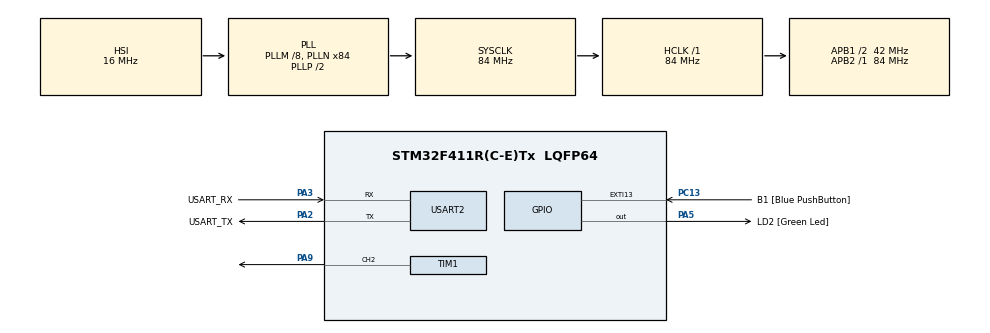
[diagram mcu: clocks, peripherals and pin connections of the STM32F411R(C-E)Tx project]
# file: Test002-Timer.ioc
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Mcu.Family=STM32F4
Mcu.Name=STM32F411R(C-E)Tx
Mcu.Package=LQFP64
NVIC.EXTI15_10_IRQn=true\:0\:3\:true\:false\:true\:true\:true\:true
NVIC.PriorityGroup=NVIC_PRIORITYGROUP_0
NVIC.TIM2_IRQn=true\:0\:0\:false\:false\:true\:true\:true\:true
NVIC.TIM3_IRQn=true\:0\:2\:false\:false\:true\:true\:true\:true
NVIC.TIM4_IRQn=true\:0\:0\:false\:false\:true\:true\:true\:true
PA13.GPIO_Label=TMS
PA13.Mode=Serial_Wire
PA13.Signal=SYS_JTMS-SWDIO
PA14.GPIO_Label=TCK
PA14.Mode=Serial_Wire
PA14.Signal=SYS_JTCK-SWCLK
PA2.GPIO_Label=USART_TX
PA2.Mode=Asynchronous
PA2.Signal=USART2_TX
PA3.GPIO_Label=USART_RX
PA3.Mode=Asynchronous
PA3.Signal=USART2_RX
PA5.GPIO_Label=LD2 [Green Led]
PA5.Signal=GPIO_Output
PA9.Signal=S_TIM1_CH2
PB3.GPIO_Label=SWO
PB3.Signal=SYS_JTDO-SWO
PC13-ANTI_TAMP.GPIO_Label=B1 [Blue PushButton]
PC13-ANTI_TAMP.GPIO_ModeDefaultEXTI=GPIO_MODE_IT_FALLING
PC13-ANTI_TAMP.Signal=GPXTI13
PC14-OSC32_IN.Mode=LSE-External-Oscillator
PC14-OSC32_IN.Signal=RCC_OSC32_IN
PC15-OSC32_OUT.Mode=LSE-External-Oscillator
PC15-OSC32_OUT.Signal=RCC_OSC32_OUT
PH0\ -\ OSC_IN.Mode=HSE-External-Clock-Source
PH0\ -\ OSC_IN.Signal=RCC_OSC_IN
PH1\ -\ OSC_OUT.Mode=HSE-External-Clock-Source
PH1\ -\ OSC_OUT.Signal=RCC_OSC_OUT
ProjectManager.HeapSize=0x200
ProjectManager.StackSize=0x400
ProjectManager.TargetToolchain=STM32CubeIDE
RCC.48MHZClocksFreq_Value=42000000
RCC.AHBFreq_Value=84000000
RCC.APB1CLKDivider=RCC_HCLK_DIV2
RCC.APB1Freq_Value=42000000
RCC.APB1TimFreq_Value=84000000
RCC.APB2Freq_Value=84000000
RCC.APB2TimFreq_Value=84000000
RCC.CortexFreq_Value=84000000
RCC.FLatency-AdvancedSettings=FLASH_LATENCY_2
RCC.HCLKFreq_Value=84000000
RCC.HSE_VALUE=8000000
RCC.HSI_VALUE=16000000
RCC.PLLM=8
RCC.PLLN=84
RCC.SYSCLKFreq_VALUE=84000000
RCC.SYSCLKSource=RCC_SYSCLKSOURCE_PLLCLK
RCC.VCOOutputFreq_Value=168000000
SH.S_TIM1_CH2.0=TIM1_CH2,PWM Generation2 CH2
TIM1.Channel-PWM\ Generation2\ CH2=TIM_CHANNEL_2
TIM1.Period=100-1
TIM1.Prescaler=840-1
TIM2.Period=10000-1
TIM2.Prescaler=8400-1
TIM3.Period=30000-1
TIM3.Prescaler=8400-1
TIM4.Period=50000-1
TIM4.Prescaler=8400-1
USART2.VirtualMode=VM_ASYNC
VP_TIM1_VS_ClockSourceINT.Mode=Internal
VP_TIM2_VS_ClockSourceINT.Mode=Internal
VP_TIM3_VS_ClockSourceINT.Mode=Internal
VP_TIM4_VS_ClockSourceINT.Mode=Internal
board=NUCLEO-F411RE

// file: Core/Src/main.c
/* USER CODE BEGIN Header */
/**
  ******************************************************************************
  * @file           : main.c
  * @brief          : Main program body
  ******************************************************************************
  * @attention
  *
  * Copyright (c) 2024 STMicroelectronics.
  * All rights reserved.
  *
  * This software is licensed under terms that can be found in the LICENSE file
  * in the root directory of this software component.
  * If no LICENSE file comes with this software, it is provided AS-IS.
  *
  ******************************************************************************
  */
/* USER CODE END Header */
#include "main.h"

TIM_HandleTypeDef htim1;
TIM_HandleTypeDef htim2;
TIM_HandleTypeDef htim3;
TIM_HandleTypeDef htim4;

UART_HandleTypeDef huart2;

void SystemClock_Config(void);
static void MX_GPIO_Init(void);
static void MX_USART2_UART_Init(void);
static void MX_TIM3_Init(void);
static void MX_TIM2_Init(void);
static void MX_TIM4_Init(void);
static void MX_TIM1_Init(void);

/* USER CODE BEGIN 0 */
int count3 = 0;
int count2 = 0;
int op = 0;

void HAL_TIM_PeriodElapsedCallback(TIM_HandleTypeDef *htim) // &htimx
{
	if(htim == &htim2)
	{
		printf("Timer2 elapsed...%d...Press B1 to continue\r\n", count2++);
	}
	else if(htim == &htim3)
	{
		printf("  >>>>> Timer3 elapsed........\r\n");
	}
	else if(htim == &htim4)  // interval : 5sec
	{
		printf("     Timer4 elapsed...%d\r\n", count3++);
	}
}
void HAL_GPIO_EXTI_Callback(uint16_t GPIO_Pin)
{
	if(++op > 100) op = 0;
}
/* USER CODE END 0 */

int main(void)
{

  /* MCU Configuration--------------------------------------------------------*/

  /* Reset of all peripherals, Initializes the Flash interface and the Systick. */
  HAL_Init();

  /* Configure the system clock */
  SystemClock_Config();

  /* Initialize all configured peripherals */
  MX_GPIO_Init();
  MX_USART2_UART_Init();
  MX_TIM3_Init();
  MX_TIM2_Init();
  MX_TIM4_Init();
  MX_TIM1_Init();
  /* USER CODE BEGIN 2 */
  ProgramStart("Timer2");  // B1 to start.

  op = 0;
  //HAL_TIM_Base_Start_IT(&htim3);
  //HAL_TIM_Base_Start_IT(&htim2);
  /* USER CODE END 2 */

  /* Infinite loop */
  /* USER CODE BEGIN WHILE */
  int mode = 1;
  while (1)
  {
    /* USER CODE END WHILE */

    /* USER CODE BEGIN 3 */
	  htim1.Instance
	  if(mode == 1)
	  {
		  HAL_GPIO_WritePin(LD2_GPIO_Port, LD2_Pin, 1);  //PA5
		  HAL_Delay(500); // 500 ms
		  HAL_GPIO_WritePin(LD2_GPIO_Port, LD2_Pin, 0);
		  HAL_Delay(500); // 500 ms
	  }
  }
  /* USER CODE END 3 */
}

void SystemClock_Config(void)
{
  RCC_OscInitTypeDef RCC_OscInitStruct = {0};
  RCC_ClkInitTypeDef RCC_ClkInitStruct = {0};

  /** Configure the main internal regulator output voltage
  */
  __HAL_RCC_PWR_CLK_ENABLE();
  __HAL_PWR_VOLTAGESCALING_CONFIG(PWR_REGULATOR_VOLTAGE_SCALE1);

  /** Initializes the RCC Oscillators according to the specified parameters
  * in the RCC_OscInitTypeDef structure.
  */
  RCC_OscInitStruct.OscillatorType = RCC_OSCILLATORTYPE_HSI;
  RCC_OscInitStruct.HSIState = RCC_HSI_ON;
  RCC_OscInitStruct.HSICalibrationValue = RCC_HSICALIBRATION_DEFAULT;
  RCC_OscInitStruct.PLL.PLLState = RCC_PLL_ON;
  RCC_OscInitStruct.PLL.PLLSource = RCC_PLLSOURCE_HSI;
  RCC_OscInitStruct.PLL.PLLM = 8;
  RCC_OscInitStruct.PLL.PLLN = 84;
  RCC_OscInitStruct.PLL.PLLP = RCC_PLLP_DIV2;
  RCC_OscInitStruct.PLL.PLLQ = 4;
  if (HAL_RCC_OscConfig(&RCC_OscInitStruct) != HAL_OK)
  {
    Error_Handler();
  }

  /** Initializes the CPU, AHB and APB buses clocks
  */
  RCC_ClkInitStruct.ClockType = RCC_CLOCKTYPE_HCLK|RCC_CLOCKTYPE_SYSCLK
                              |RCC_CLOCKTYPE_PCLK1|RCC_CLOCKTYPE_PCLK2;
  RCC_ClkInitStruct.SYSCLKSource = RCC_SYSCLKSOURCE_PLLCLK;
  RCC_ClkInitStruct.AHBCLKDivider = RCC_SYSCLK_DIV1;
  RCC_ClkInitStruct.APB1CLKDivider = RCC_HCLK_DIV2;
  RCC_ClkInitStruct.APB2CLKDivider = RCC_HCLK_DIV1;

  if (HAL_RCC_ClockConfig(&RCC_ClkInitStruct, FLASH_LATENCY_2) != HAL_OK)
  {
    Error_Handler();
  }
}

static void MX_TIM1_Init(void)
{

  TIM_ClockConfigTypeDef sClockSourceConfig = {0};
  TIM_MasterConfigTypeDef sMasterConfig = {0};
  TIM_OC_InitTypeDef sConfigOC = {0};
  TIM_BreakDeadTimeConfigTypeDef sBreakDeadTimeConfig = {0};

  htim1.Instance = TIM1;
  htim1.Init.Prescaler = 840-1;
  htim1.Init.CounterMode = TIM_COUNTERMODE_UP;
  htim1.Init.Period = 100-1;
  htim1.Init.ClockDivision = TIM_CLOCKDIVISION_DIV1;
  htim1.Init.RepetitionCounter = 0;
  htim1.Init.AutoReloadPreload = TIM_AUTORELOAD_PRELOAD_DISABLE;
  if (HAL_TIM_Base_Init(&htim1) != HAL_OK)
  {
    Error_Handler();
  }
  sClockSourceConfig.ClockSource = TIM_CLOCKSOURCE_INTERNAL;
  if (HAL_TIM_ConfigClockSource(&htim1, &sClockSourceConfig) != HAL_OK)
  {
    Error_Handler();
  }
  if (HAL_TIM_PWM_Init(&htim1) != HAL_OK)
  {
    Error_Handler();
  }
  sMasterConfig.MasterOutputTrigger = TIM_TRGO_RESET;
  sMasterConfig.MasterSlaveMode = TIM_MASTERSLAVEMODE_DISABLE;
  if (HAL_TIMEx_MasterConfigSynchronization(&htim1, &sMasterConfig) != HAL_OK)
  {
    Error_Handler();
  }
  sConfigOC.OCMode = TIM_OCMODE_PWM1;
  sConfigOC.Pulse = 0;
  sConfigOC.OCPolarity = TIM_OCPOLARITY_HIGH;
  sConfigOC.OCNPolarity = TIM_OCNPOLARITY_HIGH;
  sConfigOC.OCFastMode = TIM_OCFAST_DISABLE;
  sConfigOC.OCIdleState = TIM_OCIDLESTATE_RESET;
  sConfigOC.OCNIdleState = TIM_OCNIDLESTATE_RESET;
  if (HAL_TIM_PWM_ConfigChannel(&htim1, &sConfigOC, TIM_CHANNEL_2) != HAL_OK)
  {
    Error_Handler();
  }
  sBreakDeadTimeConfig.OffStateRunMode = TIM_OSSR_DISABLE;
  sBreakDeadTimeConfig.OffStateIDLEMode = TIM_OSSI_DISABLE;
  sBreakDeadTimeConfig.LockLevel = TIM_LOCKLEVEL_OFF;
  sBreakDeadTimeConfig.DeadTime = 0;
  sBreakDeadTimeConfig.BreakState = TIM_BREAK_DISABLE;
  sBreakDeadTimeConfig.BreakPolarity = TIM_BREAKPOLARITY_HIGH;
  sBreakDeadTimeConfig.AutomaticOutput = TIM_AUTOMATICOUTPUT_DISABLE;
  if (HAL_TIMEx_ConfigBreakDeadTime(&htim1, &sBreakDeadTimeConfig) != HAL_OK)
  {
    Error_Handler();
  }
  HAL_TIM_MspPostInit(&htim1);

}

static void MX_TIM2_Init(void)
{

  TIM_ClockConfigTypeDef sClockSourceConfig = {0};
  TIM_MasterConfigTypeDef sMasterConfig = {0};

  htim2.Instance = TIM2;
  htim2.Init.Prescaler = 8400-1;
  htim2.Init.CounterMode = TIM_COUNTERMODE_UP;
  htim2.Init.Period = 10000-1;
  htim2.Init.ClockDivision = TIM_CLOCKDIVISION_DIV1;
  htim2.Init.AutoReloadPreload = TIM_AUTORELOAD_PRELOAD_DISABLE;
  if (HAL_TIM_Base_Init(&htim2) != HAL_OK)
  {
    Error_Handler();
  }
  sClockSourceConfig.ClockSource = TIM_CLOCKSOURCE_INTERNAL;
  if (HAL_TIM_ConfigClockSource(&htim2, &sClockSourceConfig) != HAL_OK)
  {
    Error_Handler();
  }
  sMasterConfig.MasterOutputTrigger = TIM_TRGO_RESET;
  sMasterConfig.MasterSlaveMode = TIM_MASTERSLAVEMODE_DISABLE;
  if (HAL_TIMEx_MasterConfigSynchronization(&htim2, &sMasterConfig) != HAL_OK)
  {
    Error_Handler();
  }

}

static void MX_TIM3_Init(void)
{

  TIM_ClockConfigTypeDef sClockSourceConfig = {0};
  TIM_MasterConfigTypeDef sMasterConfig = {0};

  htim3.Instance = TIM3;
  htim3.Init.Prescaler = 8400-1;
  htim3.Init.CounterMode = TIM_COUNTERMODE_UP;
  htim3.Init.Period = 30000-1;
  htim3.Init.ClockDivision = TIM_CLOCKDIVISION_DIV1;
  htim3.Init.AutoReloadPreload = TIM_AUTORELOAD_PRELOAD_DISABLE;
  if (HAL_TIM_Base_Init(&htim3) != HAL_OK)
  {
    Error_Handler();
  }
  sClockSourceConfig.ClockSource = TIM_CLOCKSOURCE_INTERNAL;
  if (HAL_TIM_ConfigClockSource(&htim3, &sClockSourceConfig) != HAL_OK)
  {
    Error_Handler();
  }
  sMasterConfig.MasterOutputTrigger = TIM_TRGO_RESET;
  sMasterConfig.MasterSlaveMode = TIM_MASTERSLAVEMODE_DISABLE;
  if (HAL_TIMEx_MasterConfigSynchronization(&htim3, &sMasterConfig) != HAL_OK)
  {
    Error_Handler();
  }

}

static void MX_TIM4_Init(void)
{

  TIM_ClockConfigTypeDef sClockSourceConfig = {0};
  TIM_MasterConfigTypeDef sMasterConfig = {0};

  htim4.Instance = TIM4;
  htim4.Init.Prescaler = 8400-1;
  htim4.Init.CounterMode = TIM_COUNTERMODE_UP;
  htim4.Init.Period = 50000-1;
  htim4.Init.ClockDivision = TIM_CLOCKDIVISION_DIV1;
  htim4.Init.AutoReloadPreload = TIM_AUTORELOAD_PRELOAD_DISABLE;
  if (HAL_TIM_Base_Init(&htim4) != HAL_OK)
  {
    Error_Handler();
  }
  sClockSourceConfig.ClockSource = TIM_CLOCKSOURCE_INTERNAL;
  if (HAL_TIM_ConfigClockSource(&htim4, &sClockSourceConfig) != HAL_OK)
  {
    Error_Handler();
  }
  sMasterConfig.MasterOutputTrigger = TIM_TRGO_RESET;
  sMasterConfig.MasterSlaveMode = TIM_MASTERSLAVEMODE_DISABLE;
  if (HAL_TIMEx_MasterConfigSynchronization(&htim4, &sMasterConfig) != HAL_OK)
  {
    Error_Handler();
  }

}

static void MX_USART2_UART_Init(void)
{

  huart2.Instance = USART2;
  huart2.Init.BaudRate = 115200;
  huart2.Init.WordLength = UART_WORDLENGTH_8B;
  huart2.Init.StopBits = UART_STOPBITS_1;
  huart2.Init.Parity = UART_PARITY_NONE;
  huart2.Init.Mode = UART_MODE_TX_RX;
  huart2.Init.HwFlowCtl = UART_HWCONTROL_NONE;
  huart2.Init.OverSampling = UART_OVERSAMPLING_16;
  if (HAL_UART_Init(&huart2) != HAL_OK)
  {
    Error_Handler();
  }

}

static void MX_GPIO_Init(void)
{
  GPIO_InitTypeDef GPIO_InitStruct = {0};

  /* GPIO Ports Clock Enable */
  __HAL_RCC_GPIOC_CLK_ENABLE();
  __HAL_RCC_GPIOH_CLK_ENABLE();
  __HAL_RCC_GPIOA_CLK_ENABLE();
  __HAL_RCC_GPIOB_CLK_ENABLE();

  /*Configure GPIO pin Output Level */
  HAL_GPIO_WritePin(LD2_GPIO_Port, LD2_Pin, GPIO_PIN_RESET);

  /*Configure GPIO pin : B1_Pin */
  GPIO_InitStruct.Pin = B1_Pin;
  GPIO_InitStruct.Mode = GPIO_MODE_IT_FALLING;
  GPIO_InitStruct.Pull = GPIO_NOPULL;
  HAL_GPIO_Init(B1_GPIO_Port, &GPIO_InitStruct);

  /*Configure GPIO pin : LD2_Pin */
  GPIO_InitStruct.Pin = LD2_Pin;
  GPIO_InitStruct.Mode = GPIO_MODE_OUTPUT_PP;
  GPIO_InitStruct.Pull = GPIO_NOPULL;
  GPIO_InitStruct.Speed = GPIO_SPEED_FREQ_LOW;
  HAL_GPIO_Init(LD2_GPIO_Port, &GPIO_InitStruct);

  /* EXTI interrupt init*/
  HAL_NVIC_SetPriority(EXTI15_10_IRQn, 0, 3);
  HAL_NVIC_EnableIRQ(EXTI15_10_IRQn);

}

void Error_Handler(void)
{
  __disable_irq();
  while (1)
  {
  }
}
